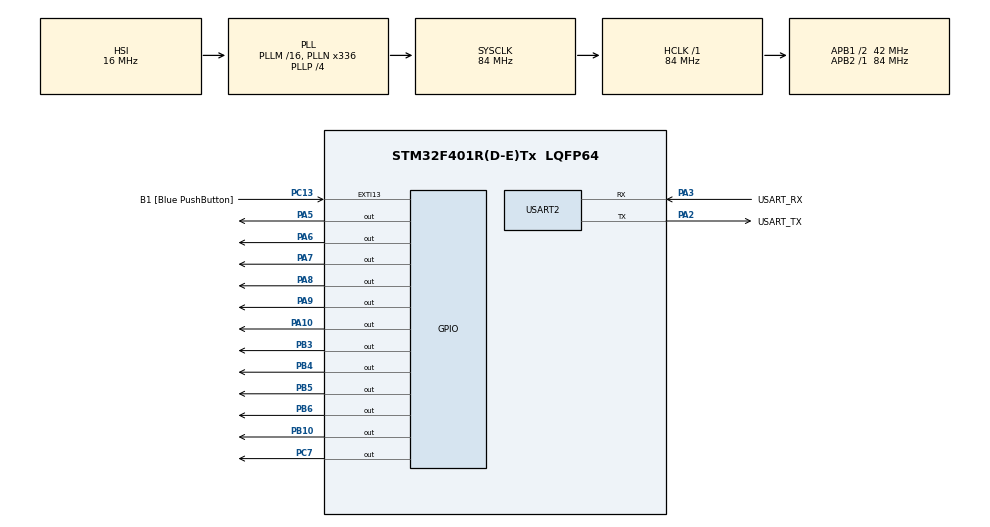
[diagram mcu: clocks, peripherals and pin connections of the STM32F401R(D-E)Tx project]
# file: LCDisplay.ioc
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Mcu.Family=STM32F4
Mcu.Name=STM32F401R(D-E)Tx
Mcu.Package=LQFP64
NVIC.PriorityGroup=NVIC_PRIORITYGROUP_0
PA10.Signal=GPIO_Output
PA13.GPIO_Label=TMS
PA13.Mode=Serial_Wire
PA13.Signal=SYS_JTMS-SWDIO
PA14.GPIO_Label=TCK
PA14.Mode=Serial_Wire
PA14.Signal=SYS_JTCK-SWCLK
PA2.GPIO_Label=USART_TX
PA2.GPIO_Mode=GPIO_MODE_AF_PP
PA2.GPIO_PuPd=GPIO_NOPULL
PA2.GPIO_Speed=GPIO_SPEED_FREQ_LOW
PA2.Mode=Asynchronous
PA2.Signal=USART2_TX
PA3.GPIO_Label=USART_RX
PA3.GPIO_Mode=GPIO_MODE_AF_PP
PA3.GPIO_PuPd=GPIO_NOPULL
PA3.GPIO_Speed=GPIO_SPEED_FREQ_LOW
PA3.Mode=Asynchronous
PA3.Signal=USART2_RX
PA5.Signal=GPIO_Output
PA6.Signal=GPIO_Output
PA7.Signal=GPIO_Output
PA8.Signal=GPIO_Output
PA9.Signal=GPIO_Output
PB10.Signal=GPIO_Output
PB3.Signal=GPIO_Output
PB4.Signal=GPIO_Output
PB5.Signal=GPIO_Output
PB6.Signal=GPIO_Output
PC13-ANTI_TAMP.GPIO_Label=B1 [Blue PushButton]
PC13-ANTI_TAMP.GPIO_ModeDefaultEXTI=GPIO_MODE_IT_FALLING
PC13-ANTI_TAMP.GPIO_PuPd=GPIO_NOPULL
PC13-ANTI_TAMP.Signal=GPXTI13
PC14-OSC32_IN.Mode=LSE-External-Oscillator
PC14-OSC32_IN.Signal=RCC_OSC32_IN
PC15-OSC32_OUT.Mode=LSE-External-Oscillator
PC15-OSC32_OUT.Signal=RCC_OSC32_OUT
PC7.Signal=GPIO_Output
PH0\ -\ OSC_IN.Mode=HSE-External-Clock-Source
PH0\ -\ OSC_IN.Signal=RCC_OSC_IN
PH1\ -\ OSC_OUT.Mode=HSE-External-Clock-Source
PH1\ -\ OSC_OUT.Signal=RCC_OSC_OUT
ProjectManager.HeapSize=0x200
ProjectManager.StackSize=0x400
ProjectManager.TargetToolchain=STM32CubeIDE
RCC.48MHZClocksFreq_Value=48000000
RCC.AHBFreq_Value=84000000
RCC.APB1CLKDivider=RCC_HCLK_DIV2
RCC.APB1Freq_Value=42000000
RCC.APB1TimFreq_Value=84000000
RCC.APB2Freq_Value=84000000
RCC.APB2TimFreq_Value=84000000
RCC.CortexFreq_Value=84000000
RCC.HCLKFreq_Value=84000000
RCC.HSE_VALUE=8000000
RCC.HSI_VALUE=16000000
RCC.PLLN=336
RCC.PLLP=RCC_PLLP_DIV4
RCC.PLLQ=7
RCC.SYSCLKFreq_VALUE=84000000
RCC.SYSCLKSource=RCC_SYSCLKSOURCE_PLLCLK
RCC.VCOOutputFreq_Value=336000000
USART2.VirtualMode=VM_ASYNC
board=NUCLEO-F401RE

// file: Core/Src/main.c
/* USER CODE BEGIN Header */
/**
  ******************************************************************************
  * @file           : main.c
  * @brief          : Main program body
  ******************************************************************************
  * @attention
  *
  * Copyright (c) 2022 STMicroelectronics.
  * All rights reserved.
  *
  * This software is licensed under terms that can be found in the LICENSE file
  * in the root directory of this software component.
  * If no LICENSE file comes with this software, it is provided AS-IS.
  *
  ******************************************************************************
  */
/* USER CODE END Header */
#include "main.h"

UART_HandleTypeDef huart2;

/* USER CODE BEGIN PV */
int number=0;
/* USER CODE END PV */

void SystemClock_Config(void);
static void MX_GPIO_Init(void);
static void MX_USART2_UART_Init(void);

/* USER CODE BEGIN 0 */
void nums(int num,int pos)
{
	HAL_GPIO_WritePin(GPIOA,GPIO_PIN_6,0);
	HAL_GPIO_WritePin(GPIOA,GPIO_PIN_9,0);
	HAL_GPIO_WritePin(GPIOB,GPIO_PIN_10,0);
	HAL_GPIO_WritePin(GPIOC,GPIO_PIN_7,0);
	HAL_GPIO_WritePin(GPIOB,GPIO_PIN_3,1);

	if(num==0){
		HAL_GPIO_WritePin(GPIOA,GPIO_PIN_5,0);
		HAL_GPIO_WritePin(GPIOA,GPIO_PIN_7,0);
		HAL_GPIO_WritePin(GPIOA,GPIO_PIN_8,0);
		HAL_GPIO_WritePin(GPIOA,GPIO_PIN_10,0);

		HAL_GPIO_WritePin(GPIOB,GPIO_PIN_4,1);
		HAL_GPIO_WritePin(GPIOB,GPIO_PIN_5,0);
		HAL_GPIO_WritePin(GPIOB,GPIO_PIN_6,0);
	}
	if(num==1){
			HAL_GPIO_WritePin(GPIOA,GPIO_PIN_5,1);
			HAL_GPIO_WritePin(GPIOA,GPIO_PIN_7,1);
			HAL_GPIO_WritePin(GPIOA,GPIO_PIN_8,0);
			HAL_GPIO_WritePin(GPIOA,GPIO_PIN_10,1);

			HAL_GPIO_WritePin(GPIOB,GPIO_PIN_4,1);
			HAL_GPIO_WritePin(GPIOB,GPIO_PIN_5,0);
			HAL_GPIO_WritePin(GPIOB,GPIO_PIN_6,1);
		}
	if(num==2){
			HAL_GPIO_WritePin(GPIOA,GPIO_PIN_5,0);
			HAL_GPIO_WritePin(GPIOA,GPIO_PIN_7,0);
			HAL_GPIO_WritePin(GPIOA,GPIO_PIN_8,0);
			HAL_GPIO_WritePin(GPIOA,GPIO_PIN_10,0);

			HAL_GPIO_WritePin(GPIOB,GPIO_PIN_4,0);
			HAL_GPIO_WritePin(GPIOB,GPIO_PIN_5,1);
			HAL_GPIO_WritePin(GPIOB,GPIO_PIN_6,1);
		}
	if(num==3){
			HAL_GPIO_WritePin(GPIOA,GPIO_PIN_5,1);
			HAL_GPIO_WritePin(GPIOA,GPIO_PIN_7,0);
			HAL_GPIO_WritePin(GPIOA,GPIO_PIN_8,0);
			HAL_GPIO_WritePin(GPIOA,GPIO_PIN_10,0);

			HAL_GPIO_WritePin(GPIOB,GPIO_PIN_4,0);
			HAL_GPIO_WritePin(GPIOB,GPIO_PIN_5,0);
			HAL_GPIO_WritePin(GPIOB,GPIO_PIN_6,1);
		}
	if(num==4){
			HAL_GPIO_WritePin(GPIOA,GPIO_PIN_5,1);
			HAL_GPIO_WritePin(GPIOA,GPIO_PIN_7,1);
			HAL_GPIO_WritePin(GPIOA,GPIO_PIN_8,0);
			HAL_GPIO_WritePin(GPIOA,GPIO_PIN_10,1);

			HAL_GPIO_WritePin(GPIOB,GPIO_PIN_4,0);
			HAL_GPIO_WritePin(GPIOB,GPIO_PIN_5,0);
			HAL_GPIO_WritePin(GPIOB,GPIO_PIN_6,0);
		}
	if(num==5){
			HAL_GPIO_WritePin(GPIOA,GPIO_PIN_5,1);
			HAL_GPIO_WritePin(GPIOA,GPIO_PIN_7,0);
			HAL_GPIO_WritePin(GPIOA,GPIO_PIN_8,1);
			HAL_GPIO_WritePin(GPIOA,GPIO_PIN_10,0);

			HAL_GPIO_WritePin(GPIOB,GPIO_PIN_4,0);
			HAL_GPIO_WritePin(GPIOB,GPIO_PIN_5,0);
			HAL_GPIO_WritePin(GPIOB,GPIO_PIN_6,0);
		}
	if(num==6){
			HAL_GPIO_WritePin(GPIOA,GPIO_PIN_5,0);
			HAL_GPIO_WritePin(GPIOA,GPIO_PIN_7,0);
			HAL_GPIO_WritePin(GPIOA,GPIO_PIN_8,1);
			HAL_GPIO_WritePin(GPIOA,GPIO_PIN_10,0);

			HAL_GPIO_WritePin(GPIOB,GPIO_PIN_4,0);
			HAL_GPIO_WritePin(GPIOB,GPIO_PIN_5,0);
			HAL_GPIO_WritePin(GPIOB,GPIO_PIN_6,0);
		}
	if(num==7){
			HAL_GPIO_WritePin(GPIOA,GPIO_PIN_5,1);
			HAL_GPIO_WritePin(GPIOA,GPIO_PIN_7,0);
			HAL_GPIO_WritePin(GPIOA,GPIO_PIN_8,0);
			HAL_GPIO_WritePin(GPIOA,GPIO_PIN_10,1);

			HAL_GPIO_WritePin(GPIOB,GPIO_PIN_4,1);
			HAL_GPIO_WritePin(GPIOB,GPIO_PIN_5,0);
			HAL_GPIO_WritePin(GPIOB,GPIO_PIN_6,1);
		}
	if(num==8){
			HAL_GPIO_WritePin(GPIOA,GPIO_PIN_5,0);
			HAL_GPIO_WritePin(GPIOA,GPIO_PIN_7,0);
			HAL_GPIO_WritePin(GPIOA,GPIO_PIN_8,0);
			HAL_GPIO_WritePin(GPIOA,GPIO_PIN_10,0);

			HAL_GPIO_WritePin(GPIOB,GPIO_PIN_4,0);
			HAL_GPIO_WritePin(GPIOB,GPIO_PIN_5,0);
			HAL_GPIO_WritePin(GPIOB,GPIO_PIN_6,0);
		}
	if(num==9){
			HAL_GPIO_WritePin(GPIOA,GPIO_PIN_5,1);
			HAL_GPIO_WritePin(GPIOA,GPIO_PIN_7,0);
			HAL_GPIO_WritePin(GPIOA,GPIO_PIN_8,0);
			HAL_GPIO_WritePin(GPIOA,GPIO_PIN_10,0);

			HAL_GPIO_WritePin(GPIOB,GPIO_PIN_4,0);
			HAL_GPIO_WritePin(GPIOB,GPIO_PIN_5,0);
			HAL_GPIO_WritePin(GPIOB,GPIO_PIN_6,0);
		}
	if(pos==1){
		HAL_GPIO_WritePin(GPIOA,GPIO_PIN_6,1);
	}
	if(pos==2){
			HAL_GPIO_WritePin(GPIOC,GPIO_PIN_7,1);
		}
	if(pos==3){
			HAL_GPIO_WritePin(GPIOA,GPIO_PIN_9,1);
		}
	if(pos==4){
			HAL_GPIO_WritePin(GPIOB,GPIO_PIN_10,1);
		}
}
void writeNum(int num)
{
	int dig;
	if(num>9999){
		num=0;
	}
	for(int k=0;k<4;k++){
		dig=num%10;
		nums(dig,4-k);
		num=num/10;
		HAL_Delay(1);
	}
}
/* USER CODE END 0 */

int main(void)
{

  /* MCU Configuration--------------------------------------------------------*/

  /* Reset of all peripherals, Initializes the Flash interface and the Systick. */
  HAL_Init();

  /* Configure the system clock */
  SystemClock_Config();

  /* Initialize all configured peripherals */
  MX_GPIO_Init();
  MX_USART2_UART_Init();

  /* Infinite loop */
  /* USER CODE BEGIN WHILE */
  while (1)
  {
	  for(int i=0;i<40;i++){
		  writeNum(number);
	  }
	  number++;
    /* USER CODE END WHILE */

  }
}

void SystemClock_Config(void)
{
  RCC_OscInitTypeDef RCC_OscInitStruct = {0};
  RCC_ClkInitTypeDef RCC_ClkInitStruct = {0};

  /** Configure the main internal regulator output voltage
  */
  __HAL_RCC_PWR_CLK_ENABLE();
  __HAL_PWR_VOLTAGESCALING_CONFIG(PWR_REGULATOR_VOLTAGE_SCALE2);

  /** Initializes the RCC Oscillators according to the specified parameters
  * in the RCC_OscInitTypeDef structure.
  */
  RCC_OscInitStruct.OscillatorType = RCC_OSCILLATORTYPE_HSI;
  RCC_OscInitStruct.HSIState = RCC_HSI_ON;
  RCC_OscInitStruct.HSICalibrationValue = RCC_HSICALIBRATION_DEFAULT;
  RCC_OscInitStruct.PLL.PLLState = RCC_PLL_ON;
  RCC_OscInitStruct.PLL.PLLSource = RCC_PLLSOURCE_HSI;
  RCC_OscInitStruct.PLL.PLLM = 16;
  RCC_OscInitStruct.PLL.PLLN = 336;
  RCC_OscInitStruct.PLL.PLLP = RCC_PLLP_DIV4;
  RCC_OscInitStruct.PLL.PLLQ = 7;
  if (HAL_RCC_OscConfig(&RCC_OscInitStruct) != HAL_OK)
  {
    Error_Handler();
  }

  /** Initializes the CPU, AHB and APB buses clocks
  */
  RCC_ClkInitStruct.ClockType = RCC_CLOCKTYPE_HCLK|RCC_CLOCKTYPE_SYSCLK
                              |RCC_CLOCKTYPE_PCLK1|RCC_CLOCKTYPE_PCLK2;
  RCC_ClkInitStruct.SYSCLKSource = RCC_SYSCLKSOURCE_PLLCLK;
  RCC_ClkInitStruct.AHBCLKDivider = RCC_SYSCLK_DIV1;
  RCC_ClkInitStruct.APB1CLKDivider = RCC_HCLK_DIV2;
  RCC_ClkInitStruct.APB2CLKDivider = RCC_HCLK_DIV1;

  if (HAL_RCC_ClockConfig(&RCC_ClkInitStruct, FLASH_LATENCY_2) != HAL_OK)
  {
    Error_Handler();
  }
}

static void MX_USART2_UART_Init(void)
{

  huart2.Instance = USART2;
  huart2.Init.BaudRate = 115200;
  huart2.Init.WordLength = UART_WORDLENGTH_8B;
  huart2.Init.StopBits = UART_STOPBITS_1;
  huart2.Init.Parity = UART_PARITY_NONE;
  huart2.Init.Mode = UART_MODE_TX_RX;
  huart2.Init.HwFlowCtl = UART_HWCONTROL_NONE;
  huart2.Init.OverSampling = UART_OVERSAMPLING_16;
  if (HAL_UART_Init(&huart2) != HAL_OK)
  {
    Error_Handler();
  }

}

static void MX_GPIO_Init(void)
{
  GPIO_InitTypeDef GPIO_InitStruct = {0};

  /* GPIO Ports Clock Enable */
  __HAL_RCC_GPIOC_CLK_ENABLE();
  __HAL_RCC_GPIOH_CLK_ENABLE();
  __HAL_RCC_GPIOA_CLK_ENABLE();
  __HAL_RCC_GPIOB_CLK_ENABLE();

  /*Configure GPIO pin Output Level */
  HAL_GPIO_WritePin(GPIOA, GPIO_PIN_5|GPIO_PIN_6|GPIO_PIN_7|GPIO_PIN_8
                          |GPIO_PIN_9|GPIO_PIN_10, GPIO_PIN_RESET);

  /*Configure GPIO pin Output Level */
  HAL_GPIO_WritePin(GPIOB, GPIO_PIN_10|GPIO_PIN_3|GPIO_PIN_4|GPIO_PIN_5
                          |GPIO_PIN_6, GPIO_PIN_RESET);

  /*Configure GPIO pin Output Level */
  HAL_GPIO_WritePin(GPIOC, GPIO_PIN_7, GPIO_PIN_RESET);

  /*Configure GPIO pin : B1_Pin */
  GPIO_InitStruct.Pin = B1_Pin;
  GPIO_InitStruct.Mode = GPIO_MODE_IT_FALLING;
  GPIO_InitStruct.Pull = GPIO_NOPULL;
  HAL_GPIO_Init(B1_GPIO_Port, &GPIO_InitStruct);

  /*Configure GPIO pins : PA5 PA6 PA7 PA8
                           PA9 PA10 */
  GPIO_InitStruct.Pin = GPIO_PIN_5|GPIO_PIN_6|GPIO_PIN_7|GPIO_PIN_8
                          |GPIO_PIN_9|GPIO_PIN_10;
  GPIO_InitStruct.Mode = GPIO_MODE_OUTPUT_PP;
  GPIO_InitStruct.Pull = GPIO_NOPULL;
  GPIO_InitStruct.Speed = GPIO_SPEED_FREQ_LOW;
  HAL_GPIO_Init(GPIOA, &GPIO_InitStruct);

  /*Configure GPIO pins : PB10 PB3 PB4 PB5
                           PB6 */
  GPIO_InitStruct.Pin = GPIO_PIN_10|GPIO_PIN_3|GPIO_PIN_4|GPIO_PIN_5
                          |GPIO_PIN_6;
  GPIO_InitStruct.Mode = GPIO_MODE_OUTPUT_PP;
  GPIO_InitStruct.Pull = GPIO_NOPULL;
  GPIO_InitStruct.Speed = GPIO_SPEED_FREQ_LOW;
  HAL_GPIO_Init(GPIOB, &GPIO_InitStruct);

  /*Configure GPIO pin : PC7 */
  GPIO_InitStruct.Pin = GPIO_PIN_7;
  GPIO_InitStruct.Mode = GPIO_MODE_OUTPUT_PP;
  GPIO_InitStruct.Pull = GPIO_NOPULL;
  GPIO_InitStruct.Speed = GPIO_SPEED_FREQ_LOW;
  HAL_GPIO_Init(GPIOC, &GPIO_InitStruct);

}

void Error_Handler(void)
{
  __disable_irq();
  while (1)
  {
  }
}
